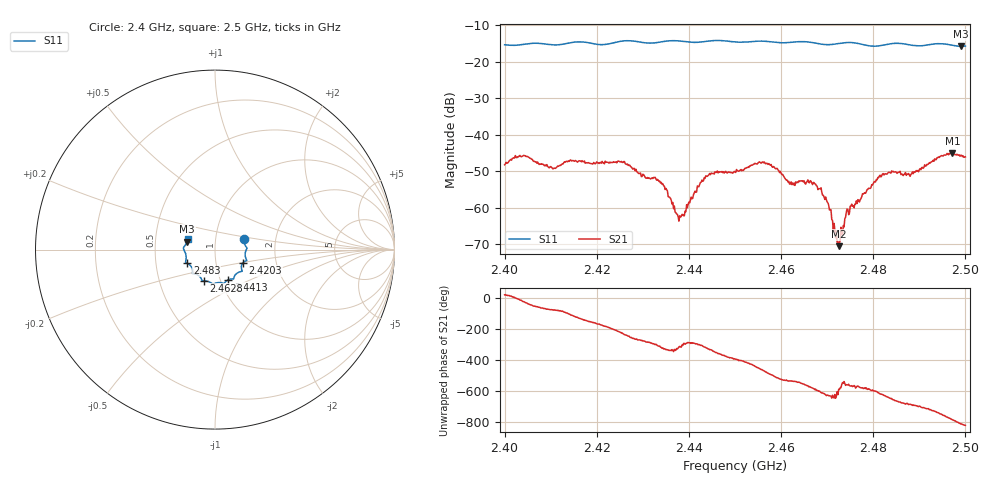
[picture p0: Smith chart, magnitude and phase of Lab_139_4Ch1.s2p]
# Hz S RI R 50
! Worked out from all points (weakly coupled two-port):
!   601 points, 2.4 GHz to 2.5 GHz, reference 50 ohm
!   highest |S21| = -45.08 dB at 2.4972 GHz (marker M1); lowest = -70.6 dB at 2.4725 GHz (marker M2)
!   lowest |S11| = -15.8 dB at 2.499 GHz (marker M3), VSWR 1.39, Z = 36.4 + j3.37 ohm
!   |S11| at or under -10 dB: start of sweep to end of sweep
!   S12 and S22 are empty: the file has one direction only
!   S11 on the Smith chart (normalised r, x): 2.4 GHz: 1.37, +0.16; 2.4203 GHz: 1.35, -0.21; 2.4413 GHz: 1.09, -0.38; 2.4628 GHz: 0.83, -0.30; 2.483 GHz: 0.72, -0.11; 2.5 GHz: 0.73, +0.09
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2.4e9  0.1605 0.0571  0.00358 0.00144  0 0  0 0
2.403667e9  0.1699 0.0203  0.00483 -0.00119  0 0  0 0
2.416667e9  0.1761 -0.0615  -0.00299 -0.00301  0 0  0 0
2.420333e9  0.1552 -0.0739  -0.00399 -0.000905  0 0  0 0
2.4255e9  0.1512 -0.1172  -0.00301 0.00291  0 0  0 0
2.433333e9  0.1081 -0.1485  0.00148 0.00184  0 0  0 0
2.437833e9  0.1005 -0.1638  0.00046 0.00046  0 0  0 0
2.441333e9  0.0743 -0.1679  0.000648 0.00155  0 0  0 0
2.444167e9  0.0552 -0.1829  0.00233 0.00145  0 0  0 0
2.45e9  0.0292 -0.1838  0.00258 -0.00171  0 0  0 0
2.456333e9  -0.0133 -0.1901  -0.00141 -0.00398  0 0  0 0
2.462833e9  -0.063 -0.1747  -0.00216 -0.000126  0 0  0 0
2.466667e9  -0.0741 -0.1675  -0.00167 0.00137  0 0  0 0
2.469833e9  -0.0911 -0.145  -8.29e-07 0.00128  0 0  0 0
2.4725e9  -0.1149 -0.1349  -0.000194 0.000222  0 0  0 0
2.474833e9  -0.125 -0.1337  -0.000758 0.000351  0 0  0 0
2.483e9  -0.1546 -0.0768  0.000315 0.00286  0 0  0 0
2.483333e9  -0.1569 -0.0757  0.000592 0.00297  0 0  0 0
2.488167e9  -0.1607 -0.0506  0.00239 0.00155  0 0  0 0
2.497167e9  -0.1657 0.0245  0.00231 -0.00507  0 0  0 0
2.499e9  -0.1555 0.045  -0.000253 -0.00521  0 0  0 0
2.5e9  -0.1525 0.0586  -0.00107 -0.00483  0 0  0 0
